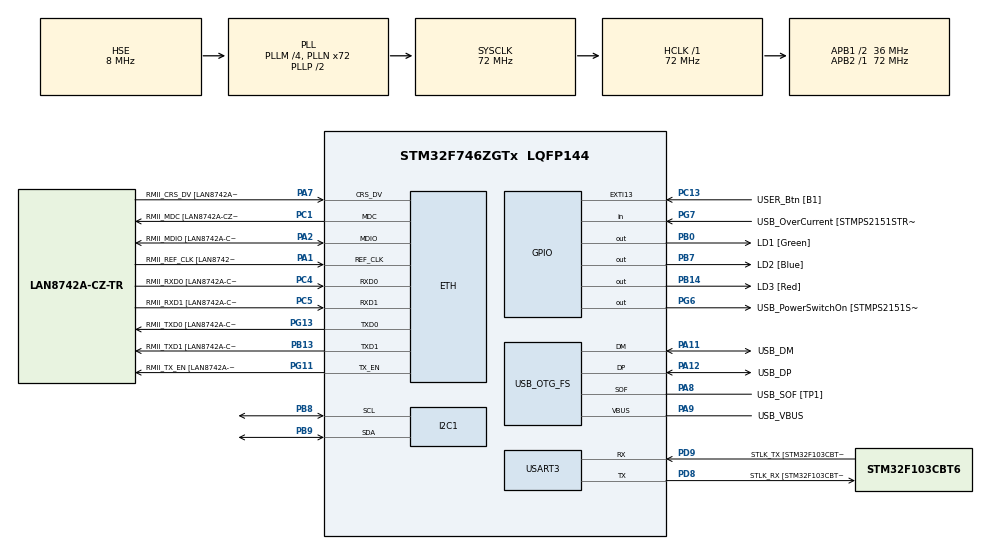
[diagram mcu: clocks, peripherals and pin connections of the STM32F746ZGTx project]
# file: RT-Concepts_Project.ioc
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ETH.MediaInterface=HAL_ETH_RMII_MODE
ETH.PHY_Name=LAN8742A_PHY_ADDRESS
ETH.PHY_Value=0
ETH.PhyAddress=0
FREERTOS.Tasks01=defaultTask,24,256,StartDefaultTask,Default,NULL,Dynamic,NULL,NULL
FREERTOS.configUSE_NEWLIB_REENTRANT=1
I2C1.Timing=0x00808CD2
Mcu.Family=STM32F7
Mcu.Name=STM32F746ZGTx
Mcu.Package=LQFP144
NVIC.PriorityGroup=NVIC_PRIORITYGROUP_4
NVIC.TIM1_UP_TIM10_IRQn=true\:15\:0\:false\:false\:true\:false\:false\:true\:true
NVIC.TimeBase=TIM1_UP_TIM10_IRQn
NVIC.TimeBaseIP=TIM1
PA1.GPIO_Label=RMII_REF_CLK [LAN8742A-CZ-TR_REFCLK0]
PA1.Mode=RMII
PA1.Signal=ETH_REF_CLK
PA10.GPIO_Label=USB_ID
PA10.Signal=USB_OTG_FS_ID
PA11.GPIO_Label=USB_DM
PA11.Mode=Device_Only
PA11.Signal=USB_OTG_FS_DM
PA12.GPIO_Label=USB_DP
PA12.Mode=Device_Only
PA12.Signal=USB_OTG_FS_DP
PA13.GPIO_Label=TMS
PA13.Mode=Serial_Wire
PA13.Signal=SYS_JTMS-SWDIO
PA14.GPIO_Label=TCK
PA14.Mode=Serial_Wire
PA14.Signal=SYS_JTCK-SWCLK
PA2.GPIO_Label=RMII_MDIO [LAN8742A-CZ-TR_MDIO]
PA2.Mode=RMII
PA2.Signal=ETH_MDIO
PA7.GPIO_Label=RMII_CRS_DV [LAN8742A-CZ-TR_CRS_DV]
PA7.Mode=RMII
PA7.Signal=ETH_CRS_DV
PA8.GPIO_Label=USB_SOF [TP1]
PA8.Mode=Activate_SOF_FS
PA8.Signal=USB_OTG_FS_SOF
PA9.GPIO_Label=USB_VBUS
PA9.Mode=Activate_VBUS
PA9.Signal=USB_OTG_FS_VBUS
PB0.GPIO_Label=LD1 [Green]
PB0.Signal=GPIO_Output
PB13.GPIO_Label=RMII_TXD1 [LAN8742A-CZ-TR_TXD1]
PB13.Mode=RMII
PB13.Signal=ETH_TXD1
PB14.GPIO_Label=LD3 [Red]
PB14.Signal=GPIO_Output
PB3.GPIO_Label=SW0
PB3.Signal=SYS_JTDO-SWO
PB7.GPIO_Label=LD2 [Blue]
PB7.Signal=GPIO_Output
PB8.Mode=I2C
PB8.Signal=I2C1_SCL
PB9.Mode=I2C
PB9.Signal=I2C1_SDA
PC1.GPIO_Label=RMII_MDC [LAN8742A-CZ-TR_MDC]
PC1.Mode=RMII
PC1.Signal=ETH_MDC
PC13.GPIO_Label=USER_Btn [B1]
PC13.Signal=GPXTI13
PC14/OSC32_IN.Mode=LSE-External-Oscillator
PC14/OSC32_IN.Signal=RCC_OSC32_IN
PC15/OSC32_OUT.Mode=LSE-External-Oscillator
PC15/OSC32_OUT.Signal=RCC_OSC32_OUT
PC4.GPIO_Label=RMII_RXD0 [LAN8742A-CZ-TR_RXD0]
PC4.Mode=RMII
PC4.Signal=ETH_RXD0
PC5.GPIO_Label=RMII_RXD1 [LAN8742A-CZ-TR_RXD1]
PC5.Mode=RMII
PC5.Signal=ETH_RXD1
PD8.GPIO_Label=STLK_RX [STM32F103CBT6_PA3]
PD8.GPIO_PuPd=GPIO_PULLUP
PD8.Mode=Asynchronous
PD8.Signal=USART3_TX
PD9.GPIO_Label=STLK_TX [STM32F103CBT6_PA2]
PD9.GPIO_PuPd=GPIO_PULLUP
PD9.Mode=Asynchronous
PD9.Signal=USART3_RX
PG11.GPIO_Label=RMII_TX_EN [LAN8742A-CZ-TR_TXEN]
PG11.Mode=RMII
PG11.Signal=ETH_TX_EN
PG13.GPIO_Label=RMII_TXD0 [LAN8742A-CZ-TR_TXD0]
PG13.Mode=RMII
PG13.Signal=ETH_TXD0
PG6.GPIO_Label=USB_PowerSwitchOn [STMPS2151STR_EN]
PG6.Signal=GPIO_Output
PG7.GPIO_Label=USB_OverCurrent [STMPS2151STR_FAULT]
PG7.Signal=GPIO_Input
PH0/OSC_IN.GPIO_Label=MCO [STM32F103CBT6_PA8]
PH0/OSC_IN.Mode=HSE-External-Clock-Source
PH0/OSC_IN.Signal=RCC_OSC_IN
PH1/OSC_OUT.Mode=HSE-External-Clock-Source
PH1/OSC_OUT.Signal=RCC_OSC_OUT
ProjectManager.HeapSize=0x200
ProjectManager.StackSize=0x400
ProjectManager.TargetToolchain=STM32CubeIDE
RCC.48MHZClocksFreq_Value=24000000
RCC.AHBFreq_Value=72000000
RCC.APB1CLKDivider=RCC_HCLK_DIV2
RCC.APB1Freq_Value=36000000
RCC.APB1TimFreq_Value=72000000
RCC.APB2Freq_Value=72000000
RCC.APB2TimFreq_Value=72000000
RCC.CortexFreq_Value=72000000
RCC.HCLKFreq_Value=72000000
RCC.HSE_VALUE=8000000
RCC.HSI_VALUE=16000000
RCC.PLLM=4
RCC.PLLMUL=RCC_PLL_MUL9
RCC.PLLN=72
RCC.PLLQ=3
RCC.PRESCALERUSB=RCC_USBCLKSOURCE_PLL_DIV1_5
RCC.SYSCLKFreq_VALUE=72000000
RCC.SYSCLKSource=RCC_SYSCLKSOURCE_PLLCLK
RCC.SYSCLKSourceVirtual=RCC_SYSCLKSOURCE_PLLCLK
RCC.USBFreq_Value=48000000
RCC.VCOOutputFreq_Value=144000000
USART3.VirtualMode-Asynchronous=VM_ASYNC
USB_OTG_FS.VirtualMode=Device_Only
VP_FREERTOS_VS_CMSIS_V2.Mode=CMSIS_V2
VP_SYS_VS_tim1.Mode=TIM1
board=NUCLEO-F746ZG

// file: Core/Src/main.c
/* USER CODE BEGIN Header */
/**
  ******************************************************************************
  * @file           : main.c
  * @brief          : Main program body
  ******************************************************************************
  * @attention
  *
  * Copyright (c) 2025 STMicroelectronics.
  * All rights reserved.
  *
  * This software is licensed under terms that can be found in the LICENSE file
  * in the root directory of this software component.
  * If no LICENSE file comes with this software, it is provided AS-IS.
  *
  ******************************************************************************
  */
/* USER CODE END Header */
#include "main.h"
#include "string.h"
#include "cmsis_os.h"
#include "FreeRTOS.h"
#include "semphr.h"

/* USER CODE BEGIN Includes */
#include <stdio.h>
#include "../common/Common.h"
#include "../Task_Generators/Task_Generator.h"
/* USER CODE END Includes */

#if defined ( __ICCARM__ ) /*!< IAR Compiler */
#pragma location=0x2004c000
ETH_DMADescTypeDef  DMARxDscrTab[ETH_RX_DESC_CNT]; /* Ethernet Rx DMA Descriptors */
#pragma location=0x2004c0a0
ETH_DMADescTypeDef  DMATxDscrTab[ETH_TX_DESC_CNT]; /* Ethernet Tx DMA Descriptors */

#elif defined ( __CC_ARM )  /* MDK ARM Compiler */

__attribute__((at(0x2004c000))) ETH_DMADescTypeDef  DMARxDscrTab[ETH_RX_DESC_CNT]; /* Ethernet Rx DMA Descriptors */
__attribute__((at(0x2004c0a0))) ETH_DMADescTypeDef  DMATxDscrTab[ETH_TX_DESC_CNT]; /* Ethernet Tx DMA Descriptors */

#elif defined ( __GNUC__ ) /* GNU Compiler */

ETH_DMADescTypeDef DMARxDscrTab[ETH_RX_DESC_CNT] __attribute__((section(".RxDecripSection"))); /* Ethernet Rx DMA Descriptors */
ETH_DMADescTypeDef DMATxDscrTab[ETH_TX_DESC_CNT] __attribute__((section(".TxDecripSection")));   /* Ethernet Tx DMA Descriptors */
#endif

ETH_TxPacketConfig TxConfig;

ETH_HandleTypeDef heth;

I2C_HandleTypeDef hi2c1;

UART_HandleTypeDef huart3;

PCD_HandleTypeDef hpcd_USB_OTG_FS;

/* Definitions for defaultTask */
osThreadId_t defaultTaskHandle;
const osThreadAttr_t defaultTask_attributes = {
  .name = "defaultTask",
  .stack_size = 256 * 4,
  .priority = (osPriority_t) osPriorityNormal,
};

void SystemClock_Config(void);
static void MX_GPIO_Init(void);
static void MX_ETH_Init(void);
static void MX_I2C1_Init(void);
static void MX_USART3_UART_Init(void);
static void MX_USB_OTG_FS_PCD_Init(void);
void StartDefaultTask(void *argument);

int main(void)
{

  /* MCU Configuration--------------------------------------------------------*/

  /* Reset of all peripherals, Initializes the Flash interface and the Systick. */
  HAL_Init();

  /* Configure the system clock */
  SystemClock_Config();

  /* Initialize all configured peripherals */
  MX_GPIO_Init();
  MX_ETH_Init();
  MX_I2C1_Init();
  MX_USART3_UART_Init();
  MX_USB_OTG_FS_PCD_Init();

  /* Init scheduler */
  osKernelInitialize();

  /* USER CODE BEGIN RTOS_SEMAPHORES */
  /* add semaphores, ... */

  Police_Cars_Sem = xSemaphoreCreateCounting(POLICE_CARS, POLICE_CARS);
  Ambulance_Cars_Sem = xSemaphoreCreateCounting(AMBULANCE_CARS, AMBULANCE_CARS);
  Fire_Cars_Sem = xSemaphoreCreateCounting(FIRE_CARS, FIRE_CARS);

  /* USER CODE END RTOS_SEMAPHORES */

  /* USER CODE BEGIN RTOS_QUEUES */
  /* add queues, ... */
  Dispatcher_Queue = xQueueCreate(15, sizeof(NewTask*));

  if(!Dispatcher_Queue)
  {
	    HAL_UART_Transmit(&huart3, (uint8_t *)"Queue creation failed!\r\n", 25, 1000);
	    while(1);
  }
  /* USER CODE END RTOS_QUEUES */

  /* Create the thread(s) */
  /* creation of defaultTask */
  defaultTaskHandle = osThreadNew(StartDefaultTask, NULL, &defaultTask_attributes);

  /* USER CODE BEGIN RTOS_THREADS */
  /* add threads, ... */
  xTaskCreate(Generator, "Task_Gen", 512, NULL, 2, NULL);
  xTaskCreate(Dispatcher, "Dispatcher", 512, NULL, 2 ,&Dispatcher_Handle);
  xTaskCreate(PoliceTasks, "Police", 512, NULL, 1 ,&Police_Dep_Handler);
  xTaskCreate(AmbulanceTasks, "Ambulance", 512, NULL, 1 ,&Ambulance_Dep_Handler);
  xTaskCreate(FireDepTasks, "FireDep", 512, NULL, 1, &Fire_Dep_Handler);
  /* USER CODE END RTOS_THREADS */

  /* Start scheduler */
  osKernelStart();

  /* We should never get here as control is now taken by the scheduler */

  /* Infinite loop */
  while (1)
  {

  }
}

void SystemClock_Config(void)
{
  RCC_OscInitTypeDef RCC_OscInitStruct = {0};
  RCC_ClkInitTypeDef RCC_ClkInitStruct = {0};

  /** Configure LSE Drive Capability
  */
  HAL_PWR_EnableBkUpAccess();

  /** Configure the main internal regulator output voltage
  */
  __HAL_RCC_PWR_CLK_ENABLE();
  __HAL_PWR_VOLTAGESCALING_CONFIG(PWR_REGULATOR_VOLTAGE_SCALE3);

  /** Initializes the RCC Oscillators according to the specified parameters
  * in the RCC_OscInitTypeDef structure.
  */
  RCC_OscInitStruct.OscillatorType = RCC_OSCILLATORTYPE_HSE;
  RCC_OscInitStruct.HSEState = RCC_HSE_BYPASS;
  RCC_OscInitStruct.PLL.PLLState = RCC_PLL_ON;
  RCC_OscInitStruct.PLL.PLLSource = RCC_PLLSOURCE_HSE;
  RCC_OscInitStruct.PLL.PLLM = 4;
  RCC_OscInitStruct.PLL.PLLN = 72;
  RCC_OscInitStruct.PLL.PLLP = RCC_PLLP_DIV2;
  RCC_OscInitStruct.PLL.PLLQ = 3;
  if (HAL_RCC_OscConfig(&RCC_OscInitStruct) != HAL_OK)
  {
    Error_Handler();
  }

  /** Initializes the CPU, AHB and APB buses clocks
  */
  RCC_ClkInitStruct.ClockType = RCC_CLOCKTYPE_HCLK|RCC_CLOCKTYPE_SYSCLK
                              |RCC_CLOCKTYPE_PCLK1|RCC_CLOCKTYPE_PCLK2;
  RCC_ClkInitStruct.SYSCLKSource = RCC_SYSCLKSOURCE_PLLCLK;
  RCC_ClkInitStruct.AHBCLKDivider = RCC_SYSCLK_DIV1;
  RCC_ClkInitStruct.APB1CLKDivider = RCC_HCLK_DIV2;
  RCC_ClkInitStruct.APB2CLKDivider = RCC_HCLK_DIV1;

  if (HAL_RCC_ClockConfig(&RCC_ClkInitStruct, FLASH_LATENCY_2) != HAL_OK)
  {
    Error_Handler();
  }
}

static void MX_ETH_Init(void)
{

   static uint8_t MACAddr[6];

  heth.Instance = ETH;
  MACAddr[0] = 0x00;
  MACAddr[1] = 0x80;
  MACAddr[2] = 0xE1;
  MACAddr[3] = 0x00;
  MACAddr[4] = 0x00;
  MACAddr[5] = 0x00;
  heth.Init.MACAddr = &MACAddr[0];
  heth.Init.MediaInterface = HAL_ETH_RMII_MODE;
  heth.Init.TxDesc = DMATxDscrTab;
  heth.Init.RxDesc = DMARxDscrTab;
  heth.Init.RxBuffLen = 1524;

  if (HAL_ETH_Init(&heth) != HAL_OK)
  {
    Error_Handler();
  }

  memset(&TxConfig, 0 , sizeof(ETH_TxPacketConfig));
  TxConfig.Attributes = ETH_TX_PACKETS_FEATURES_CSUM | ETH_TX_PACKETS_FEATURES_CRCPAD;
  TxConfig.ChecksumCtrl = ETH_CHECKSUM_IPHDR_PAYLOAD_INSERT_PHDR_CALC;
  TxConfig.CRCPadCtrl = ETH_CRC_PAD_INSERT;

}

static void MX_I2C1_Init(void)
{

  hi2c1.Instance = I2C1;
  hi2c1.Init.Timing = 0x00808CD2;
  hi2c1.Init.OwnAddress1 = 0;
  hi2c1.Init.AddressingMode = I2C_ADDRESSINGMODE_7BIT;
  hi2c1.Init.DualAddressMode = I2C_DUALADDRESS_DISABLE;
  hi2c1.Init.OwnAddress2 = 0;
  hi2c1.Init.OwnAddress2Masks = I2C_OA2_NOMASK;
  hi2c1.Init.GeneralCallMode = I2C_GENERALCALL_DISABLE;
  hi2c1.Init.NoStretchMode = I2C_NOSTRETCH_DISABLE;
  if (HAL_I2C_Init(&hi2c1) != HAL_OK)
  {
    Error_Handler();
  }

  /** Configure Analogue filter
  */
  if (HAL_I2CEx_ConfigAnalogFilter(&hi2c1, I2C_ANALOGFILTER_ENABLE) != HAL_OK)
  {
    Error_Handler();
  }

  /** Configure Digital filter
  */
  if (HAL_I2CEx_ConfigDigitalFilter(&hi2c1, 0) != HAL_OK)
  {
    Error_Handler();
  }

}

static void MX_USART3_UART_Init(void)
{

  huart3.Instance = USART3;
  huart3.Init.BaudRate = 115200;
  huart3.Init.WordLength = UART_WORDLENGTH_8B;
  huart3.Init.StopBits = UART_STOPBITS_1;
  huart3.Init.Parity = UART_PARITY_NONE;
  huart3.Init.Mode = UART_MODE_TX_RX;
  huart3.Init.HwFlowCtl = UART_HWCONTROL_NONE;
  huart3.Init.OverSampling = UART_OVERSAMPLING_16;
  huart3.Init.OneBitSampling = UART_ONE_BIT_SAMPLE_DISABLE;
  huart3.AdvancedInit.AdvFeatureInit = UART_ADVFEATURE_NO_INIT;
  if (HAL_UART_Init(&huart3) != HAL_OK)
  {
    Error_Handler();
  }

}

static void MX_USB_OTG_FS_PCD_Init(void)
{

  hpcd_USB_OTG_FS.Instance = USB_OTG_FS;
  hpcd_USB_OTG_FS.Init.dev_endpoints = 6;
  hpcd_USB_OTG_FS.Init.speed = PCD_SPEED_FULL;
  hpcd_USB_OTG_FS.Init.dma_enable = DISABLE;
  hpcd_USB_OTG_FS.Init.phy_itface = PCD_PHY_EMBEDDED;
  hpcd_USB_OTG_FS.Init.Sof_enable = ENABLE;
  hpcd_USB_OTG_FS.Init.low_power_enable = DISABLE;
  hpcd_USB_OTG_FS.Init.lpm_enable = DISABLE;
  hpcd_USB_OTG_FS.Init.vbus_sensing_enable = ENABLE;
  hpcd_USB_OTG_FS.Init.use_dedicated_ep1 = DISABLE;
  if (HAL_PCD_Init(&hpcd_USB_OTG_FS) != HAL_OK)
  {
    Error_Handler();
  }

}

static void MX_GPIO_Init(void)
{
  GPIO_InitTypeDef GPIO_InitStruct = {0};

  /* GPIO Ports Clock Enable */
  __HAL_RCC_GPIOC_CLK_ENABLE();
  __HAL_RCC_GPIOH_CLK_ENABLE();
  __HAL_RCC_GPIOA_CLK_ENABLE();
  __HAL_RCC_GPIOB_CLK_ENABLE();
  __HAL_RCC_GPIOD_CLK_ENABLE();
  __HAL_RCC_GPIOG_CLK_ENABLE();

  /*Configure GPIO pin Output Level */
  HAL_GPIO_WritePin(GPIOB, LD1_Pin|LD3_Pin|LD2_Pin, GPIO_PIN_RESET);

  /*Configure GPIO pin Output Level */
  HAL_GPIO_WritePin(USB_PowerSwitchOn_GPIO_Port, USB_PowerSwitchOn_Pin, GPIO_PIN_RESET);

  /*Configure GPIO pin : USER_Btn_Pin */
  GPIO_InitStruct.Pin = USER_Btn_Pin;
  GPIO_InitStruct.Mode = GPIO_MODE_IT_RISING;
  GPIO_InitStruct.Pull = GPIO_NOPULL;
  HAL_GPIO_Init(USER_Btn_GPIO_Port, &GPIO_InitStruct);

  /*Configure GPIO pins : LD1_Pin LD3_Pin LD2_Pin */
  GPIO_InitStruct.Pin = LD1_Pin|LD3_Pin|LD2_Pin;
  GPIO_InitStruct.Mode = GPIO_MODE_OUTPUT_PP;
  GPIO_InitStruct.Pull = GPIO_NOPULL;
  GPIO_InitStruct.Speed = GPIO_SPEED_FREQ_LOW;
  HAL_GPIO_Init(GPIOB, &GPIO_InitStruct);

  /*Configure GPIO pin : USB_PowerSwitchOn_Pin */
  GPIO_InitStruct.Pin = USB_PowerSwitchOn_Pin;
  GPIO_InitStruct.Mode = GPIO_MODE_OUTPUT_PP;
  GPIO_InitStruct.Pull = GPIO_NOPULL;
  GPIO_InitStruct.Speed = GPIO_SPEED_FREQ_LOW;
  HAL_GPIO_Init(USB_PowerSwitchOn_GPIO_Port, &GPIO_InitStruct);

  /*Configure GPIO pin : USB_OverCurrent_Pin */
  GPIO_InitStruct.Pin = USB_OverCurrent_Pin;
  GPIO_InitStruct.Mode = GPIO_MODE_INPUT;
  GPIO_InitStruct.Pull = GPIO_NOPULL;
  HAL_GPIO_Init(USB_OverCurrent_GPIO_Port, &GPIO_InitStruct);

}

void StartDefaultTask(void *argument)
{
  for(;;)
  {
    osDelay(1);
  }
}

void HAL_TIM_PeriodElapsedCallback(TIM_HandleTypeDef *htim)
{
  if (htim->Instance == TIM1)
  {
    HAL_IncTick();
  }
}

void Error_Handler(void)
{
  __disable_irq();
  while (1)
  {
  }
}
